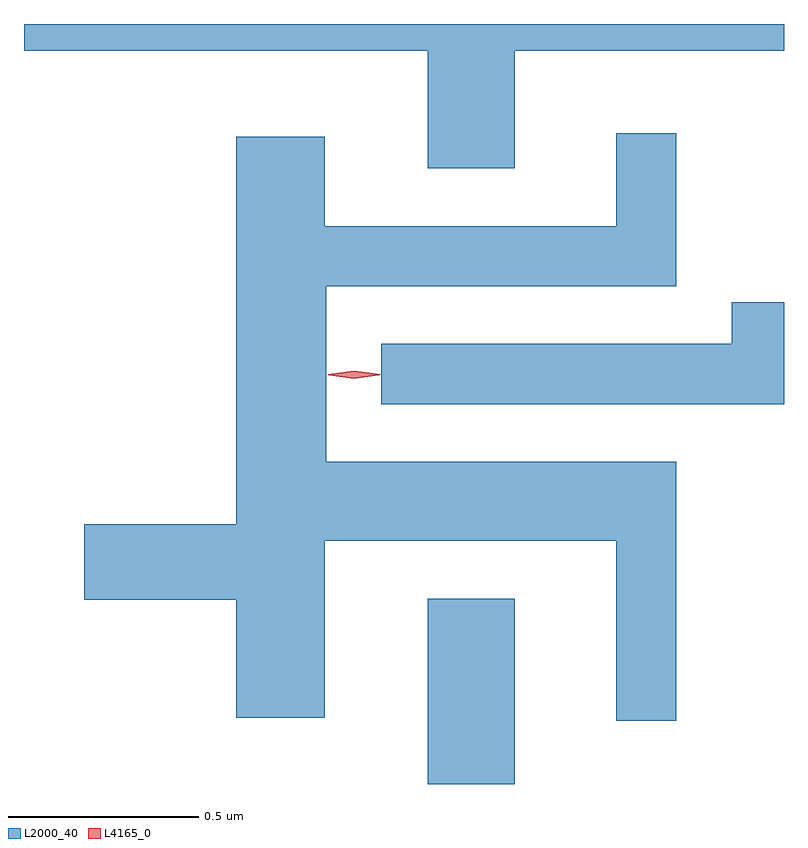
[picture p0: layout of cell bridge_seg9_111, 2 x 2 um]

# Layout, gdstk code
import gdstk
lib = gdstk.Library(unit=1e-6, precision=1e-09)
def R(c, l, rs):  # rectangles x0, y0, x1, y1
    for r in rs: c.add(gdstk.rectangle(r[:2], r[2:], *l))
def P(c, l, *ps):  # polygons
    for p in ps: c.add(gdstk.Polygon(p, *l))
L2000_40 = (2000, 40)
L4165_0 = (4165, 0)

bridge_seg9_111 = lib.new_cell('bridge_seg9_111')
R(bridge_seg9_111, L2000_40, [(1800.881,1963.246,1801.109,1963.734)])
P(bridge_seg9_111, L2000_40, [(1801.109,1965.176),(1801.818,1965.176),(1801.818,1965.246),(1799.818,1965.246),(1799.818,1965.176),(1800.881,1965.176),(1800.881,1964.866),(1801.109,1964.866)],
  [(1801.534,1964.094),(1800.614,1964.094),(1800.614,1964.556),(1801.534,1964.556),(1801.534,1964.958),(1801.376,1964.958),(1801.376,1964.714),(1800.609,1964.714),(1800.609,1964.949),(1800.376,1964.949),(1800.376,1963.929),(1799.976,1963.929),(1799.976,1963.731),(1800.376,1963.731),(1800.376,1963.421),(1800.609,1963.421),(1800.609,1963.886),(1801.376,1963.886),(1801.376,1963.413),(1801.534,1963.413)],
  [(1801.818,1964.514),(1801.681,1964.514),(1801.681,1964.404),(1800.758,1964.404),(1800.758,1964.246),(1801.818,1964.246)])
P(bridge_seg9_111, L4165_0, [(1800.687,1964.314),(1800.618,1964.323),(1800.617,1964.324),(1800.618,1964.324),(1800.687,1964.334),(1800.756,1964.324),(1800.756,1964.324),(1800.756,1964.323)],
  [(1800.686,1964.312),(1800.62,1964.322),(1800.62,1964.322),(1800.62,1964.323),(1800.686,1964.332),(1800.752,1964.323),(1800.753,1964.322),(1800.752,1964.322)])

lib.write_gds('bridge_seg9_111.gds')
